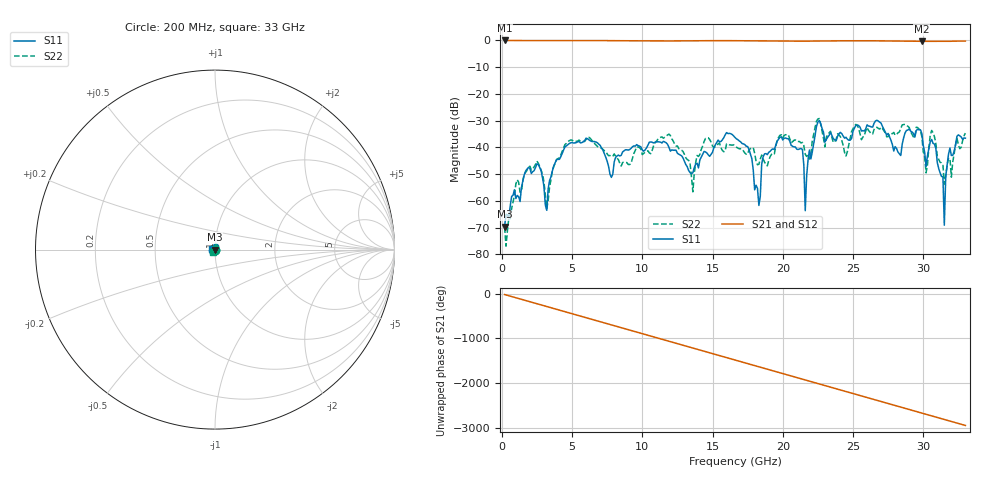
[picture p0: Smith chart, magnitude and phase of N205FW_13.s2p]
# GHZ S RI R 50
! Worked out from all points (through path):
!   329 points, 200 MHz to 33 GHz, reference 50 ohm
!   highest |S21| = -0.02 dB at 200 MHz (marker M1); lowest = -0.4 dB at 29.9 GHz (marker M2)
!   group delay of S21, straight-line fit = 248 ps
!   lowest |S11| = -69.6 dB at 200 MHz (marker M3), VSWR 1.00, Z = 50 + j0.0214 ohm
!   |S11| at or under -10 dB: start of sweep to end of sweep
!   |S22| runs from -77.0 to -29.2 dB; largest |S21 - S12| = 0.0022
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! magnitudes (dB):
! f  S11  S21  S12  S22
! 200 MHz  -69.6  0.0  0.0  -69.9
! 1.9 GHz  -47.6  -0.1  -0.1  -47.4
! 3.2 GHz  -63.6  -0.1  -0.1  -62.9
! 3.9 GHz  -44.6  -0.1  -0.1  -44.5
! 5.7 GHz  -38.2  -0.1  -0.1  -37.9
! 7.8 GHz  -51.2  -0.1  -0.1  -43.4
! 11.2 GHz  -38.0  -0.2  -0.2  -36.6
! 13.6 GHz  -49.5  -0.2  -0.2  -56.7
! 14.5 GHz  -41.7  -0.1  -0.1  -36.7
! 16.6 GHz  -36.3  -0.1  -0.1  -39.5
! 18.3 GHz  -61.7  -0.2  -0.2  -46.4
! 18.6 GHz  -43.6  -0.2  -0.2  -44.4
! 19.9 GHz  -36.1  -0.3  -0.3  -35.3
! 21.4 GHz  -40.8  -0.3  -0.3  -38.2
! 21.6 GHz  -63.7  -0.3  -0.3  -42.6
! 22.1 GHz  -41.8  -0.3  -0.3  -37.6
! 27.6 GHz  -36.1  -0.2  -0.2  -34.9
! 29.9 GHz  -34.9  -0.4  -0.4  -36.0
! 31.4 GHz  -51.0  -0.3  -0.3  -46.5
! 31.5 GHz  -69.1  -0.4  -0.4  -53.8
! 31.9 GHz  -40.3  -0.3  -0.3  -44.1
! 33 GHz  -36.6  -0.3  -0.3  -34.7
